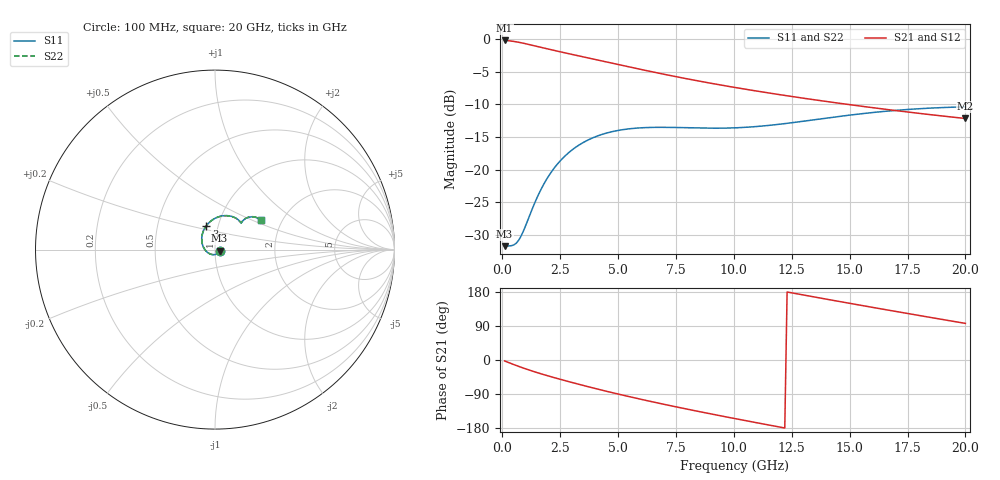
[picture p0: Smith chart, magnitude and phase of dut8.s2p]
! Touchstone file exported from HFSS 2023.1.0
!  File:  D:/Users/fzz/RDL_TSV/temp_RDL_TSV_8_1778742852.aedt
!  Generated:  3:24:01 %x4E0B%x5348  5%x6708 14, 2026
!  Design:  RDL_TSV
!  Project:  temp_RDL_TSV_8_1778742852
!  Setup:  Setup1
!  Solution:  Sweep
! Variables:
!  dtsv = 19.8um
!  hbump = 3um
!  htsv = 84.4um
!  ldown = 602.1um
!  lrdl = 325.7um
!  p = 40
!  p1 = 48.63um
!  rhole = 10um
!  subl = 3109.1um
!  t = 450um
!  tdown = 2.41um
!  trdl = 3.86um
!  viad = 10um
!  wdown = 13.27um
!  wrdl = 17.84um
!  xbump = 18um
# GHz S MA R 50.000000
! Terminal data exported
! Port[1] = TM1_1_T1
! Port[2] = TM1_4_T1
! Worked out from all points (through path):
!   200 points, 100 MHz to 20 GHz, reference 50 ohm
!   highest |S21| = -0.24 dB at 100 MHz (marker M1); lowest = -12.2 dB at 20 GHz (marker M2)
!   group delay of S21, straight-line fit = 34.7 ps
!   lowest |S11| = -31.7 dB at 100 MHz (marker M3), VSWR 1.05, Z = 52.6 - j0.59 ohm
!   |S11| at or under -10 dB: start of sweep to end of sweep
!   |S22| runs from -31.7 to -10.4 dB; largest |S21 - S12| = 1e-14
!   S11 on the Smith chart (normalised r, x): 100 MHz: 1.05, -0.01; 3 GHz: 0.88, +0.24; 20 GHz: 1.56, +0.56
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0.1  0.02599 -12.4  0.9732 -2.5  0.9732 -2.5  0.02599 -12.4
! Gamma 0 0 0 0
! Port Impedance 50 0 50 0
0.5  0.02658 -68.5  0.9567 -12.2  0.9567 -12.2  0.02659 -68.5
0.7  0.02873 -99.2  0.9432 -16.7  0.9432 -16.7  0.02873 -99.2
0.9  0.03356 -127.7  0.9276 -21.1  0.9276 -21.1  0.03355 -127.7
1.4  0.0556 -178.7  0.8849 -31.3  0.8849 -31.3  0.05557 -178.7
1.7  0.07221 161.2  0.8595 -36.9  0.8595 -36.9  0.07215 161.3
2.1  0.09495 141.1  0.8273 -44.1  0.8273 -44.1  0.09486 141.2
2.5  0.1167 125.7  0.7971 -50.9  0.7971 -50.9  0.1166 125.7
3  0.141 110.3  0.7618 -59.2  0.7618 -59.2  0.1408 110.3
3.5  0.1615 97.9  0.7284 -67.2  0.7284 -67.2  0.1613 97.9
4.3  0.1859 82.2  0.6782 -79.5  0.6782 -79.5  0.1856 82.2
5.2  0.2022 69.0  0.6259 -92.7  0.6259 -92.7  0.2019 69.1
6  0.209 60.3  0.5835 -103.9  0.5835 -103.9  0.2086 60.4
6.8  0.2108 54.0  0.545 -114.6  0.545 -114.6  0.2104 54.0
8.4  0.2083 47.0  0.4793 -134.9  0.4793 -134.9  0.2078 47.1
10.1  0.209 45.4  0.4237 -155.3  0.4237 -155.3  0.2087 45.6
11.6  0.2188 45.9  0.3836 -172.6  0.3836 -172.6  0.2186 46.1
13.4  0.2398 45.6  0.3438 167.1  0.3438 167.1  0.24 45.8
15  0.2613 43.7  0.3142 149.6  0.3142 149.6  0.2616 43.9
16.7  0.2812 40.4  0.2873 131.3  0.2873 131.3  0.2818 40.5
18.3  0.2945 36.7  0.2657 114.3  0.2657 114.3  0.2953 36.9
20  0.3022 32.9  0.2463 96.6  0.2463 96.6  0.3032 33.0
